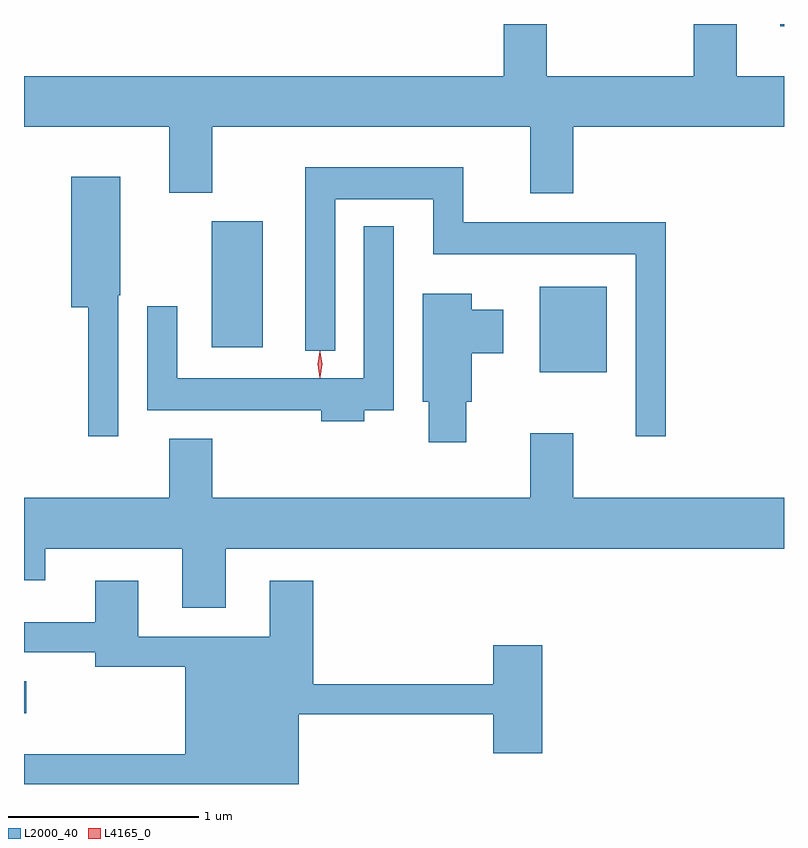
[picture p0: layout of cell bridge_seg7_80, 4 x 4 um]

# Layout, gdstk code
import gdstk
lib = gdstk.Library(unit=1e-6, precision=1e-09)
def R(c, l, rs):  # rectangles x0, y0, x1, y1
    for r in rs: c.add(gdstk.rectangle(r[:2], r[2:], *l))
def P(c, l, *ps):  # polygons
    for p in ps: c.add(gdstk.Polygon(p, *l))
L2000_40 = (2000, 40)
L4165_0 = (4165, 0)

bridge_seg7_80 = lib.new_cell('bridge_seg7_80')
R(bridge_seg7_80, L2000_40, [(1495.957,1755.631,1495.968,1755.799), (1498.671,1757.426,1499.024,1757.874), (1496.946,1757.556,1497.214,1758.219), (1499.936,1759.246,1499.957,1759.258)])
P(bridge_seg7_80, L2000_40, [(1498.849,1758.716),(1499.957,1758.716),(1499.957,1758.984),(1499.709,1758.984),(1499.709,1759.258),(1499.481,1759.258),(1499.481,1758.984),(1498.709,1758.984),(1498.709,1759.258),(1498.481,1759.258),(1498.481,1758.984),(1495.957,1758.984),(1495.957,1758.716),(1496.721,1758.716),(1496.721,1758.371),(1496.949,1758.371),(1496.949,1758.716),(1498.621,1758.716),(1498.621,1758.366),(1498.849,1758.366)],
  [(1499.334,1758.214),(1498.269,1758.214),(1498.269,1758.504),(1497.436,1758.504),(1497.436,1757.538),(1497.594,1757.538),(1497.594,1758.336),(1498.111,1758.336),(1498.111,1758.046),(1499.176,1758.046),(1499.176,1757.088),(1499.334,1757.088)],
  [(1496.454,1757.83),(1496.464,1757.83),(1496.464,1758.454),(1496.206,1758.454),(1496.206,1757.766),(1496.296,1757.766),(1496.296,1757.088),(1496.454,1757.088)],
  [(1497.749,1757.226),(1497.904,1757.226),(1497.904,1758.193),(1497.746,1758.193),(1497.746,1757.394),(1496.764,1757.394),(1496.764,1757.773),(1496.606,1757.773),(1496.606,1757.226),(1497.521,1757.226),(1497.521,1757.166),(1497.749,1757.166)],
  [(1498.284,1757.271),(1498.314,1757.271),(1498.314,1757.526),(1498.479,1757.526),(1498.479,1757.754),(1498.314,1757.754),(1498.314,1757.839),(1498.056,1757.839),(1498.056,1757.271),(1498.086,1757.271),(1498.086,1757.056),(1498.284,1757.056)],
  [(1497.019,1756.496),(1499.957,1756.496),(1499.957,1756.764),(1498.849,1756.764),(1498.849,1757.104),(1498.621,1757.104),(1498.621,1756.764),(1496.949,1756.764),(1496.949,1757.074),(1496.721,1757.074),(1496.721,1756.764),(1495.957,1756.764),(1495.957,1756.331),(1496.069,1756.331),(1496.069,1756.496),(1496.791,1756.496),(1496.791,1756.186),(1497.019,1756.186)],
  [(1497.404,1755.626),(1498.426,1755.626),(1498.426,1755.421),(1498.684,1755.421),(1498.684,1755.989),(1498.426,1755.989),(1498.426,1755.784),(1497.479,1755.784),(1497.479,1756.329),(1497.251,1756.329),(1497.251,1756.034),(1496.559,1756.034),(1496.559,1756.329),(1496.331,1756.329),(1496.331,1756.109),(1495.957,1756.109),(1495.957,1755.951),(1496.331,1755.951),(1496.331,1755.876),(1496.806,1755.876),(1496.806,1755.414),(1495.957,1755.414),(1495.957,1755.258),(1497.404,1755.258)])
P(bridge_seg7_80, L4165_0, [(1497.517,1757.399),(1497.516,1757.4),(1497.506,1757.466),(1497.516,1757.532),(1497.516,1757.533),(1497.517,1757.532),(1497.526,1757.466),(1497.517,1757.4)],
  [(1497.514,1757.397),(1497.514,1757.397),(1497.504,1757.466),(1497.514,1757.536),(1497.514,1757.536),(1497.515,1757.536),(1497.524,1757.466),(1497.515,1757.397)])

lib.write_gds('bridge_seg7_80.gds')
